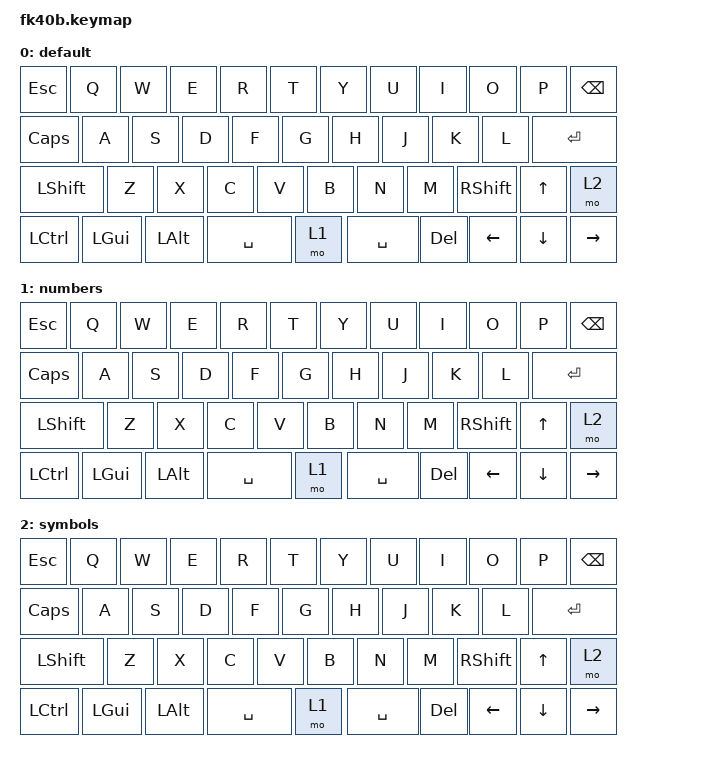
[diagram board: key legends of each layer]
/*
 * Copyright (c) 2020 The ZMK Contributors
 *
 * SPDX-License-Identifier: MIT
 */

#include <behaviors.dtsi>
#include <dt-bindings/zmk/keys.h>
#include <dt-bindings/zmk/bt.h>
#include <dt-bindings/zmk/outputs.h>

/ {
    keymap {
        compatible = "zmk,keymap";

        default {
// --------------------------------------------------------------------------------------------------------------------------------------------------------------------
// ESC  | Q    |  W  |  E  |  R  |  T  |   Y  |  U  |  I   |    O    |  P    | BSP  |
// CAP  | A    |  S  |  D  |  F  |  G  |   H  |  J  |  K   |    L    |  Ent  |
// Lsft | Z    |  X  |  C  |  V  |  B  |   N  |  M  |RSHFT |    UP   |   MO2 |
// LCTL | LGUI | LALT      | SPC | MO1 |   SPC| DEL | LEFT |   DOWN  | RIGHT |
           bindings = <
            &kp ESC    &kp Q     &kp W       &kp E       &kp R       &kp T      &kp Y       &kp U    &kp I       &kp O       &kp P     &kp BSPC
            &kp CAPS   &kp A     &kp S       &kp D       &kp F       &kp G      &kp H       &kp J    &kp K       &kp L       &kp RET
            &kp LSHFT  &kp Z     &kp X       &kp C       &kp V       &kp B      &kp N       &kp M    &kp RSHFT   &kp UP      &mo 2
            &kp LCTRL  &kp LGUI  &kp LALT                &kp SPACE   &mo 1      &kp SPACE   &kp DEL  &kp LEFT    &kp DOWN    &kp RIGHT
            >;
        };
        numbers {
// --------------------------------------------------------------------------------------------------------------------------------------------------------------------
// ESC  | Q    |  W  |  E  |  R  |  T  |   Y  |  U  |  I   |    O    |  P    | BSP  |
// CAP  | A    |  S  |  D  |  F  |  G  |   H  |  J  |  K   |    L    |  Ent  |
// Lsft | Z    |  X  |  C  |  V  |  B  |   N  |  M  |RSHFT |    UP   |   MO2 |
// LCTL | LGUI | LALT      | SPC | MO1 |   SPC| DEL | LEFT |   DOWN  | RIGHT |
           bindings = <
            &kp ESC    &kp Q     &kp W       &kp E       &kp R       &kp T      &kp Y       &kp U    &kp I       &kp O       &kp P     &kp BSPC
            &kp CAPS   &kp A     &kp S       &kp D       &kp F       &kp G      &kp H       &kp J    &kp K       &kp L       &kp RET
            &kp LSHFT  &kp Z     &kp X       &kp C       &kp V       &kp B      &kp N       &kp M    &kp RSHFT   &kp UP      &mo 2
            &kp LCTRL  &kp LGUI  &kp LALT                &kp SPACE   &mo 1      &kp SPACE   &kp DEL  &kp LEFT    &kp DOWN    &kp RIGHT
            >;
        };
        symbols {
// --------------------------------------------------------------------------------------------------------------------------------------------------------------------
// ESC  | Q    |  W  |  E  |  R  |  T  |   Y  |  U  |  I   |    O    |  P    | BSP  |
// CAP  | A    |  S  |  D  |  F  |  G  |   H  |  J  |  K   |    L    |  Ent  |
// Lsft | Z    |  X  |  C  |  V  |  B  |   N  |  M  |RSHFT |    UP   |   MO2 |
// LCTL | LGUI | LALT      | SPC | MO1 |   SPC| DEL | LEFT |   DOWN  | RIGHT |
           bindings = <
            &kp ESC    &kp Q     &kp W       &kp E       &kp R       &kp T      &kp Y       &kp U    &kp I       &kp O       &kp P     &kp BSPC
            &kp CAPS   &kp A     &kp S       &kp D       &kp F       &kp G      &kp H       &kp J    &kp K       &kp L       &kp RET
            &kp LSHFT  &kp Z     &kp X       &kp C       &kp V       &kp B      &kp N       &kp M    &kp RSHFT   &kp UP      &mo 2
            &kp LCTRL  &kp LGUI  &kp LALT                &kp SPACE   &mo 1      &kp SPACE   &kp DEL  &kp LEFT    &kp DOWN    &kp RIGHT
            >;
        };
         extra1 {
            status = "reserved";
        };

        extra2 {
            status = "reserved";
        };
    };
};
